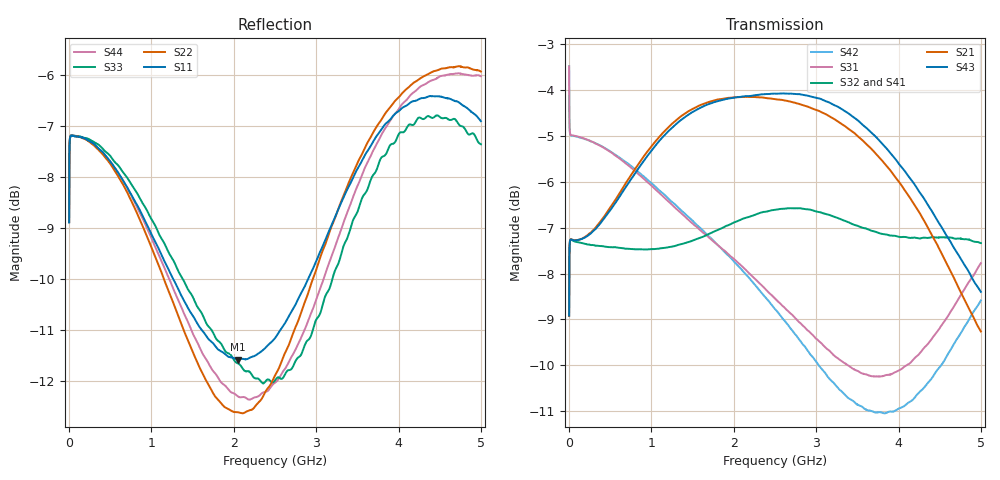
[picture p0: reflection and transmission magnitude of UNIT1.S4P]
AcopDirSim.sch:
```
<QucsStudio Schematic 5.9>
<Properties>
View=204.421,-165,1320.67,745.807,0.75,0,71
Grid=10,10,1
DataSet=*.dat
DataDisplay=*.dpl
OpenDisplay=1
showFrame=0
FrameText0=Title \n @PATH@@FILE@
FrameText1=Drawn By:
FrameText2=Date: @DATE@
FrameText3=Revision:
</Properties>
<Symbol>
</Symbol>
<Components>
Pac P1incidente 1 550 -50 -26 -75 1 "1"1"50 Ω"1"0 dBm"0"1 GHz"0"26.85"0"con_2"0
GND * 1 580 -50 0 0 1
GND * 1 780 140 0 0 0
R R2 1 590 110 15 -18 1 "50 Ω"1"26.85"0"US"0"SMD0603"0
R R3 1 500 30 15 -18 1 "10 Ω"1"26.85"0"US"0"SMD0603"0
R R8 1 780 30 -71 -18 3 "240 Ω"1"26.85"0"US"0"SMD0603"0
R R1 1 410 110 15 -18 1 "50 Ω"1"26.85"0"US"0"SMD0603"0
GND * 1 270 160 0 0 3
GND * 1 660 160 0 0 1
R R7 1 620 160 -15 15 2 "50 Ω"1"26.85"0"US"0"SMD0603"0
R R4 1 410 230 15 -18 1 "50 Ω"1"26.85"0"US"0"SMD0603"0
R R5 1 590 240 15 -18 1 "50 Ω"1"26.85"0"US"0"SMD0603"0
R R9 1 630 310 -18 -53 2 "50 Ω"1"26.85"0"US"0"SMD0603"0
GND * 1 660 310 0 0 1
GND * 1 340 310 0 0 3
R R6 1 370 310 -18 -53 2 "50 Ω"1"26.85"0"US"0"SMD0603"0
GND * 1 500 450 0 0 0
GND * 1 500 640 0 0 0
SPfile X1 1 500 390 64 -16 6 "C:/Users/torre/OneDrive/Escritorio/euVNA/TC1-1-13M+_S4P/UNIT1.S4P"0"4"0"polar"0"linear"0"short"0"none"0"block"0"SOT23"0
SPfile X2 1 500 580 73 -16 6 "C:/Users/torre/OneDrive/Escritorio/euVNA/TC1-1-13M+_S4P/UNIT1.S4P"0"4"0"polar"0"linear"0"short"0"none"0"block"0"SOT23"0
GND * 1 340 490 0 0 3
R R10 1 370 490 -18 -53 2 "50 Ω"1"26.85"0"US"0"SMD0603"0
GND * 1 530 610 0 0 0
Pac P3acoplado 1 780 110 18 -26 0 "3"1"50 Ω"1"0 dBm"0"1 GHz"0"26.85"0"con_2"0
Pac Pdirecto 1 300 160 -26 18 3 "2"1"50 Ω"1"0 dBm"0"1 GHz"0"26.85"0"con_2"0
Pac P4aisl 1 410 650 18 -26 0 "4"1"50 Ω"1"0 dBm"0"1 GHz"0"26.85"0"con_2"0
GND * 1 410 680 0 0 0
.SP SP1 1 800 350 0 9 0 "lin"1"0.1 GHz"1"3 GHz"1"301"1"no"0"1"0"2"0"none"0
</Components>
<Wires>
500 -50 520 -50
500 -50 500 0
500 0 780 0
780 60 780 80
590 60 590 80
590 140 590 160
500 60 590 60
410 60 500 60
410 60 410 80
410 140 410 160
330 160 410 160
650 160 660 160
410 160 410 200
590 160 590 210
590 270 590 310
590 310 600 310
410 260 410 310
400 310 410 310
410 360 470 360
410 310 410 360
530 360 590 360
590 310 590 360
410 420 470 420
410 420 410 490
410 550 470 550
410 490 410 550
400 490 410 490
470 610 480 610
530 420 590 420
590 420 590 550
530 550 590 550
410 610 470 610
410 610 410 620
</Wires>
<Diagrams>
</Diagrams>
<Paintings>
</Paintings>
```
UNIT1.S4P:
!MINI CIRCUITS LABORATORY
!MODEL:TC1-1-13M+
!RUN/LOT/DATE CODE:MX88570
!FIXTURE USED:90-2-20-199,S/N66156
!CONNECTION:PORT1-PIN6,PORT2-PIN4,PORT3-PIN1,PORT4-PIN3; PIN 2,5-GRND
!Date: Fri Dec 14 11:53:35 2007
!Data & Calibration Information:
!Freq	S11:SOLT4(ON)	S12:SOLT4(ON)	S13:SOLT4(ON)	S14:SOLT4(ON)
!	S21:SOLT4(ON)	S22:SOLT4(ON)	S23:SOLT4(ON)	S24:SOLT4(ON)
!	S31:SOLT4(ON)	S32:SOLT4(ON)	S33:SOLT4(ON)	S34:SOLT4(ON)
!	S41:SOLT4(ON)	S42:SOLT4(ON)	S43:SOLT4(ON)	S44:SOLT4(ON)
# Hz S dB R 50
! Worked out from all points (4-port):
!   1601 points, 1 MHz to 5 GHz, reference 50 ohm
!   strongest paths, dB at 1 MHz, 1.251 GHz, 2.501 GHz, 3.75 GHz, 5 GHz:
!     S43: -8.9, -4.8, -4.1, -5.1, -8.4
!     S21: -8.9, -4.7, -4.2, -5.4, -9.3
!     S32: -8.9, -7.4, -6.6, -7.1, -7.3
!     S41: -8.9, -7.4, -6.7, -7.2, -7.4
!     S31: -3.5, -6.5, -8.5, -10.2, -7.8
!     S42: -3.5, -6.4, -8.8, -11.0, -8.6
!   lowest |S11| = -11.6 dB at 2.054 GHz (marker M1), VSWR 1.71, Z = 83.3 - j11.5 ohm
!   |S11| at or under -10 dB: 1.262 GHz to 2.904 GHz (1.641 GHz wide, 78.8 % of centre)
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1000000  -8.90 18.7  -8.92 18.8  -3.48 -9.9  -8.93 -161.3
         -8.92 18.8  -8.89 18.7  -8.92 -161.3  -3.48 -10.0
         -3.48 -10.0  -8.92 -161.3  -8.88 18.7  -8.91 18.7
         -8.92 -161.3  -3.48 -9.9  -8.91 18.7  -8.89 18.6
2.053714e9  -11.59 -14.1  -4.15 -11.8  -7.77 -95.4  -6.92 72.8
            -4.16 -11.9  -12.62 -13.1  -6.84 73.2  -7.82 -89.9
            -7.77 -95.4  -6.85 73.1  -11.67 -19.6  -4.15 -10.1
            -6.93 72.7  -7.83 -89.9  -4.15 -10.1  -12.32 -19.6
5e9  -6.91 -11.5  -9.27 -51.2  -7.72 102.4  -7.33 -36.1
     -9.26 -51.3  -5.93 -5.0  -7.31 -36.4  -8.51 113.6
     -7.77 102.2  -7.34 -36.4  -7.36 -7.7  -8.39 -49.4
     -7.36 -36.1  -8.59 113.6  -8.40 -49.5  -6.02 -0.5
